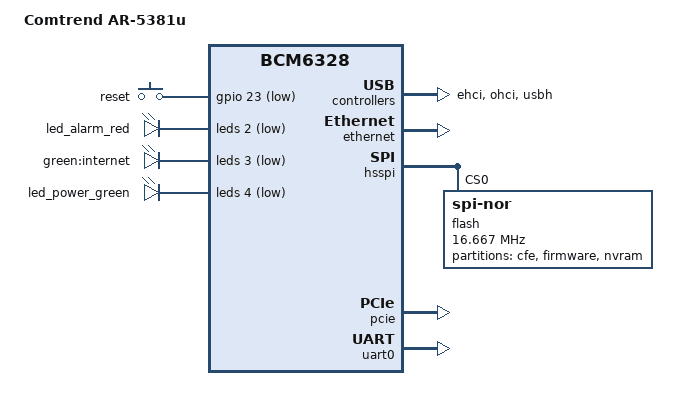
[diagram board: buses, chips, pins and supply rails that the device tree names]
// SPDX-License-Identifier: GPL-2.0-or-later

#include "bcm6328.dtsi"

/ {
	model = "Comtrend AR-5381u";
	compatible = "comtrend,ar-5381u", "brcm,bcm6328";

	aliases {
		led-boot = &led_power_green;
		led-failsafe = &led_alarm_red;
		led-running = &led_power_green;
		led-upgrade = &led_power_green;
	};

	keys {
		compatible = "gpio-keys-polled";
		poll-interval = <100>;

		reset {
			label = "reset";
			gpios = <&gpio 23 GPIO_ACTIVE_LOW>;
			linux,code = <KEY_RESTART>;
			debounce-interval = <60>;
		};
	};

	bcm43225-sprom {
		compatible = "brcm,bcma-sprom";

		pci-bus = <1>;
		pci-dev = <0>;

		nvmem-cells = <&macaddr_cfe_6a0 1>;
		nvmem-cell-names = "mac-address";

		brcm,sprom = "brcm/bcm43225-sprom.bin";
		brcm,sprom-fixups = <97 0xfee5>,
				    <98 0x157c>,
				    <99 0xfae7>,
				    <113 0xfefa>,
				    <114 0x15d6>,
				    <115 0xfaf8>;
	};
};

&ehci {
	status = "okay";
};

&ethernet {
	status = "okay";

	nvmem-cells = <&macaddr_cfe_6a0 0>;
	nvmem-cell-names = "mac-address";
};

&hsspi {
	status = "okay";

	flash@0 {
		compatible = "jedec,spi-nor";
		spi-max-frequency = <16666667>;
		spi-tx-bus-width = <2>;
		spi-rx-bus-width = <2>;
		reg = <0>;

		#address-cells = <1>;
		#size-cells = <1>;

		partitions {
			compatible = "fixed-partitions";
			#address-cells = <1>;
			#size-cells = <1>;

			partition@0 {
				reg = <0x000000 0x010000>;
				label = "cfe";
				read-only;

				nvmem-layout {
					compatible = "fixed-layout";
					#address-cells = <1>;
					#size-cells = <1>;

					macaddr_cfe_6a0: macaddr@6a0 {
						compatible = "mac-base";
						reg = <0x6a0 0x6>;
						#nvmem-cell-cells = <1>;
					};
				};
			};

			partition@10000 {
				compatible = "brcm,bcm963xx-imagetag";
				reg = <0x010000 0xfe0000>;
				label = "firmware";
			};

			partition@ff0000 {
				reg = <0xff0000 0x010000>;
				label = "nvram";
			};
		};
	};
};

&leds {
	status = "okay";

	pinctrl-names = "default";
	pinctrl-0 = <&pinctrl_leds>;

	led_alarm_red: led@2 {
		reg = <2>;
		active-low;
		function = LED_FUNCTION_ALARM;
		color = <LED_COLOR_ID_RED>;
		panic-indicator;
	};

	led@3 {
		reg = <3>;
		active-low;
		label = "green:internet";
	};

	led_power_green: led@4 {
		reg = <4>;
		active-low;
		function = LED_FUNCTION_POWER;
		color = <LED_COLOR_ID_GREEN>;
	};
};

&ohci {
	status = "okay";
};

&pcie {
	status = "okay";
};

&pinctrl {
	pinctrl_leds: leds {
		function = "led";
		pins = "gpio2", "gpio3", "gpio4";
	};
};

&switch0 {
	ports {
		port@0 {
			reg = <0>;
			label = "lan1";

			phy-handle = <&phy1>;
			phy-mode = "mii";
		};

		port@1 {
			reg = <1>;
			label = "lan2";

			phy-handle = <&phy2>;
			phy-mode = "mii";
		};

		port@2 {
			reg = <2>;
			label = "lan3";

			phy-handle = <&phy3>;
			phy-mode = "mii";
		};

		port@3 {
			reg = <3>;
			label = "lan4";

			phy-handle = <&phy4>;
			phy-mode = "mii";
		};
	};
};

&uart0 {
	status = "okay";
};

&usbh {
	status = "okay";
};
